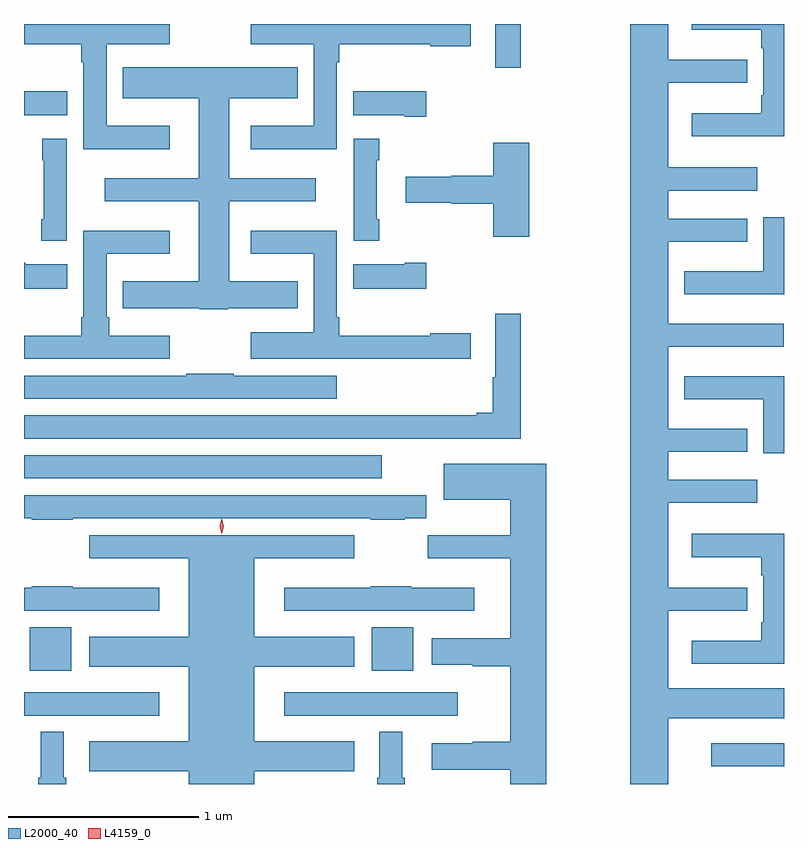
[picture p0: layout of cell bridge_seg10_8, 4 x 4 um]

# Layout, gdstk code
import gdstk
lib = gdstk.Library(unit=1e-6, precision=1e-09)
def R(c, l, rs):  # rectangles x0, y0, x1, y1
    for r in rs: c.add(gdstk.rectangle(r[:2], r[2:], *l))
def P(c, l, *ps):  # polygons
    for p in ps: c.add(gdstk.Polygon(p, *l))
L2000_40 = (2000, 40)
L4159_0 = (4159, 0)

bridge_seg10_8 = lib.new_cell('bridge_seg10_8')
R(bridge_seg10_8, L2000_40, [(1065.261,1326.857,1065.644,1326.979), (1061.644,1327.124,1062.355,1327.246), (1063.014,1327.124,1063.927,1327.246), (1061.675,1327.361,1061.893,1327.588), (1063.475,1327.361,1063.693,1327.588), (1061.644,1328.372,1063.528,1328.494), (1061.644,1330.283,1061.872,1330.411), (1064.123,1330.533,1064.258,1330.764)])
P(bridge_seg10_8, L2000_40, [(1065.034,1327.109),(1065.644,1327.109),(1065.644,1327.267),(1065.034,1327.267),(1065.034,1327.676),(1065.451,1327.676),(1065.451,1327.798),(1065.034,1327.798),(1065.034,1328.243),(1065.502,1328.243),(1065.502,1328.365),(1065.034,1328.365),(1065.034,1328.513),(1065.451,1328.513),(1065.451,1328.635),(1065.034,1328.635),(1065.034,1329.065),(1065.643,1329.065),(1065.643,1329.187),(1065.034,1329.187),(1065.034,1329.617),(1065.451,1329.617),(1065.451,1329.739),(1065.034,1329.739),(1065.034,1329.887),(1065.502,1329.887),(1065.502,1330.009),(1065.034,1330.009),(1065.034,1330.454),(1065.451,1330.454),(1065.451,1330.576),(1065.034,1330.576),(1065.034,1330.764),(1064.834,1330.764),(1064.834,1326.764),(1065.034,1326.764)],
  [(1062.412,1330.228),(1062.079,1330.228),(1062.079,1330.658),(1062.412,1330.658),(1062.412,1330.764),(1061.644,1330.764),(1061.644,1330.658),(1061.945,1330.658),(1061.945,1330.562),(1061.957,1330.562),(1061.957,1330.106),(1062.412,1330.106)],
  [(1065.644,1330.764),(1065.159,1330.764),(1065.159,1330.733),(1065.524,1330.733),(1065.524,1330.637),(1065.536,1330.637),(1065.536,1330.39),(1065.524,1330.39),(1065.524,1330.294),(1065.159,1330.294),(1065.159,1330.172),(1065.644,1330.172)],
  [(1063.291,1330.562),(1063.304,1330.562),(1063.304,1330.658),(1063.783,1330.658),(1063.783,1330.646),(1063.996,1330.646),(1063.996,1330.764),(1062.837,1330.764),(1062.837,1330.658),(1063.169,1330.658),(1063.169,1330.228),(1062.837,1330.228),(1062.837,1330.106),(1063.291,1330.106)],
  [(1062.72,1329.269),(1063.084,1329.269),(1063.084,1329.409),(1062.724,1329.409),(1062.724,1329.83),(1063.18,1329.83),(1063.18,1329.952),(1062.724,1329.952),(1062.724,1330.373),(1063.084,1330.373),(1063.084,1330.536),(1062.977,1330.536),(1062.977,1330.537),(1062.271,1330.537),(1062.271,1330.536),(1062.164,1330.536),(1062.164,1330.373),(1062.563,1330.373),(1062.563,1329.952),(1062.069,1329.952),(1062.069,1329.83),(1062.563,1329.83),(1062.563,1329.409),(1062.164,1329.409),(1062.164,1329.269),(1062.567,1329.269),(1062.567,1329.262),(1062.72,1329.262)],
  [(1063.762,1330.411),(1063.376,1330.411),(1063.376,1330.283),(1063.649,1330.283),(1063.649,1330.276),(1063.762,1330.276)],
  [(1063.514,1329.736),(1063.501,1329.736),(1063.501,1330.046),(1063.514,1330.046),(1063.514,1330.159),(1063.379,1330.159),(1063.379,1329.624),(1063.514,1329.624)],
  [(1061.869,1330.159),(1061.74,1330.159),(1061.74,1330.046),(1061.747,1330.046),(1061.747,1329.736),(1061.735,1329.736),(1061.735,1329.624),(1061.869,1329.624)],
  [(1064.302,1330.138),(1064.114,1330.138),(1064.114,1329.965),(1063.892,1329.965),(1063.892,1329.96),(1063.653,1329.96),(1063.653,1329.823),(1063.892,1329.823),(1063.892,1329.818),(1064.114,1329.818),(1064.114,1329.644),(1064.302,1329.644)],
  [(1065.644,1329.747),(1065.536,1329.747),(1065.536,1329.463),(1065.119,1329.463),(1065.119,1329.341),(1065.644,1329.341)],
  [(1063.996,1329.137),(1063.783,1329.137),(1063.783,1329.124),(1063.304,1329.124),(1063.304,1329.22),(1063.291,1329.22),(1063.291,1329.676),(1062.837,1329.676),(1062.837,1329.554),(1063.169,1329.554),(1063.169,1329.142),(1062.837,1329.142),(1062.837,1329.002),(1063.996,1329.002)],
  [(1062.412,1329.124),(1062.092,1329.124),(1062.092,1329.22),(1062.079,1329.22),(1062.079,1329.554),(1062.412,1329.554),(1062.412,1329.676),(1061.957,1329.676),(1061.957,1329.22),(1061.945,1329.22),(1061.945,1329.124),(1061.644,1329.124),(1061.644,1329.002),(1062.412,1329.002)],
  [(1063.762,1329.507),(1063.649,1329.507),(1063.649,1329.499),(1063.376,1329.499),(1063.376,1329.371),(1063.762,1329.371)],
  [(1061.872,1329.499),(1061.651,1329.499),(1061.651,1329.507),(1061.644,1329.507),(1061.644,1329.371),(1061.872,1329.371)],
  [(1064.258,1329.238),(1064.123,1329.238),(1064.123,1328.906),(1064.111,1328.906),(1064.111,1328.717),(1064.027,1328.717),(1064.027,1328.704),(1061.644,1328.704),(1061.644,1328.582),(1064.258,1328.582)],
  [(1063.291,1328.914),(1062.749,1328.914),(1062.749,1328.922),(1062.499,1328.922),(1062.499,1328.914),(1061.644,1328.914),(1061.644,1328.792),(1063.291,1328.792)],
  [(1065.644,1328.911),(1065.119,1328.911),(1065.119,1328.789),(1065.536,1328.789),(1065.536,1328.506),(1065.644,1328.506)],
  [(1064.392,1328.449),(1063.853,1328.449),(1063.853,1328.261),(1064.204,1328.261),(1064.204,1328.074),(1063.77,1328.074),(1063.77,1327.952),(1064.204,1327.952),(1064.204,1327.531),(1063.791,1327.531),(1063.791,1327.391),(1064.006,1327.391),(1064.006,1327.384),(1064.204,1327.384),(1064.204,1326.987),(1064.006,1326.987),(1064.006,1326.979),(1063.791,1326.979),(1063.791,1326.839),(1064.204,1326.839),(1064.204,1326.764),(1064.392,1326.764)],
  [(1061.9,1328.162),(1063.468,1328.162),(1063.468,1328.155),(1063.649,1328.155),(1063.649,1328.162),(1063.762,1328.162),(1063.762,1328.284),(1061.644,1328.284),(1061.644,1328.162),(1061.686,1328.162),(1061.686,1328.155),(1061.9,1328.155)],
  [(1065.644,1328.08),(1065.159,1328.08),(1065.159,1327.958),(1065.524,1327.958),(1065.524,1327.862),(1065.536,1327.862),(1065.536,1327.615),(1065.524,1327.615),(1065.524,1327.519),(1065.159,1327.519),(1065.159,1327.397),(1065.644,1327.397)],
  [(1062.856,1326.83),(1063.381,1326.83),(1063.381,1326.988),(1062.856,1326.988),(1062.856,1327.382),(1063.381,1327.382),(1063.381,1327.54),(1062.856,1327.54),(1062.856,1327.952),(1063.381,1327.952),(1063.381,1328.074),(1061.988,1328.074),(1061.988,1327.952),(1062.512,1327.952),(1062.512,1327.54),(1061.988,1327.54),(1061.988,1327.382),(1062.512,1327.382),(1062.512,1326.988),(1061.988,1326.988),(1061.988,1326.83),(1062.512,1326.83),(1062.512,1326.764),(1062.856,1326.764)],
  [(1062.355,1327.798),(1061.9,1327.798),(1061.9,1327.806),(1061.686,1327.806),(1061.686,1327.798),(1061.644,1327.798),(1061.644,1327.676),(1062.355,1327.676)],
  [(1064.014,1327.798),(1063.682,1327.798),(1063.682,1327.806),(1063.468,1327.806),(1063.468,1327.798),(1063.014,1327.798),(1063.014,1327.676),(1064.014,1327.676)],
  [(1063.649,1326.796),(1063.636,1326.796),(1063.636,1327.039),(1063.514,1327.039),(1063.514,1326.796),(1063.502,1326.796),(1063.502,1326.764),(1063.649,1326.764)],
  [(1061.867,1326.796),(1061.854,1326.796),(1061.854,1327.039),(1061.732,1327.039),(1061.732,1326.796),(1061.72,1326.796),(1061.72,1326.764),(1061.867,1326.764)])
P(bridge_seg10_8, L4159_0, [(1062.684,1328.08),(1062.684,1328.08),(1062.674,1328.121),(1062.684,1328.162),(1062.684,1328.162),(1062.684,1328.162),(1062.694,1328.121),(1062.684,1328.08)])

lib.write_gds('bridge_seg10_8.gds')
